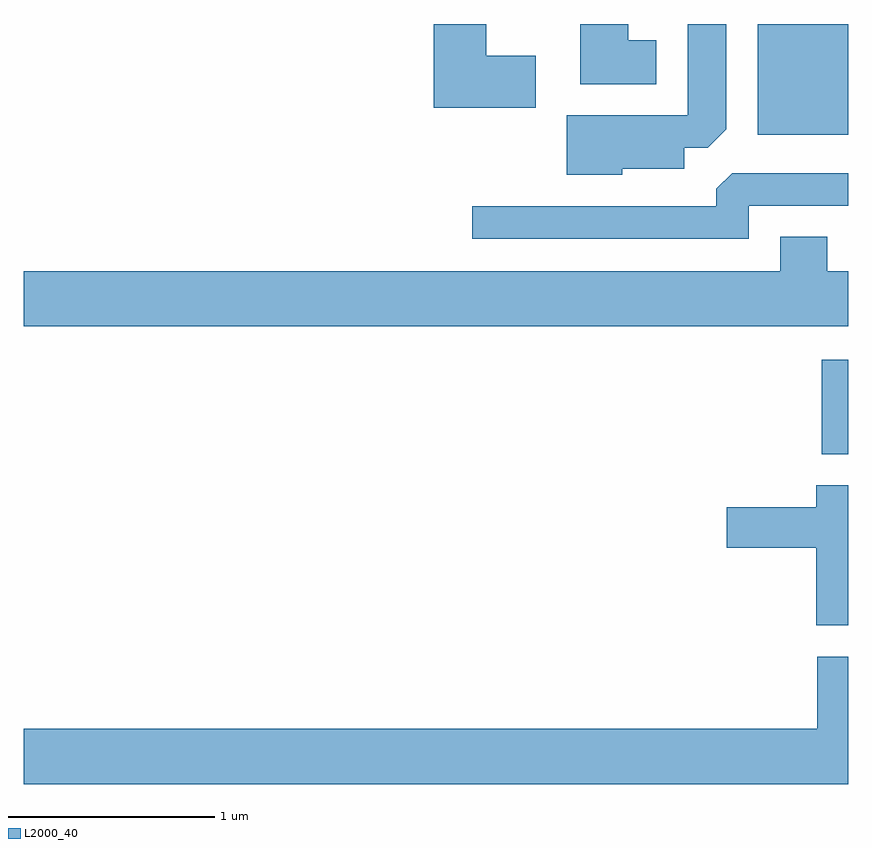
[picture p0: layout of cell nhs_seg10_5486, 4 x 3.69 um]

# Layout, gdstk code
import gdstk
lib = gdstk.Library(unit=1e-6, precision=1e-09)
def R(c, l, rs):  # rectangles x0, y0, x1, y1
    for r in rs: c.add(gdstk.rectangle(r[:2], r[2:], *l))
def P(c, l, *ps):  # polygons
    for p in ps: c.add(gdstk.Polygon(p, *l))
L2000_40 = (2000, 40)

nhs_seg10_5486 = lib.new_cell('nhs_seg10_5486')
R(nhs_seg10_5486, L2000_40, [(351.481,2084.436,351.611,2084.894), (351.171,2085.986,351.611,2086.522)])
P(nhs_seg10_5486, L2000_40, [(350.094,2086.369),(349.854,2086.369),(349.854,2086.522),(349.601,2086.522),(349.601,2086.116),(350.094,2086.116)],
  [(350.679,2086.444),(350.544,2086.444),(350.544,2086.522),(350.311,2086.522),(350.311,2086.231),(350.679,2086.231)],
  [(350.514,2085.821),(350.814,2085.821),(350.814,2085.921),(350.929,2085.921),(351.019,2086.012),(351.019,2086.522),(350.831,2086.522),(350.831,2086.079),(350.246,2086.079),(350.246,2085.791),(350.514,2085.791)],
  [(351.129,2085.641),(351.611,2085.641),(351.611,2085.799),(351.047,2085.799),(350.971,2085.724),(350.971,2085.639),(349.788,2085.639),(349.788,2085.481),(351.129,2085.481)],
  [(351.611,2085.324),(351.509,2085.324),(351.509,2085.489),(351.281,2085.489),(351.281,2085.324),(347.611,2085.324),(347.611,2085.056),(351.611,2085.056)],
  [(351.611,2084.284),(351.456,2084.284),(351.456,2084.179),(351.021,2084.179),(351.021,2083.981),(351.456,2083.981),(351.456,2083.606),(351.611,2083.606)],
  [(351.611,2083.454),(351.461,2083.454),(351.461,2083.104),(347.611,2083.104),(347.611,2082.836),(351.611,2082.836)])

lib.write_gds('nhs_seg10_5486.gds')
